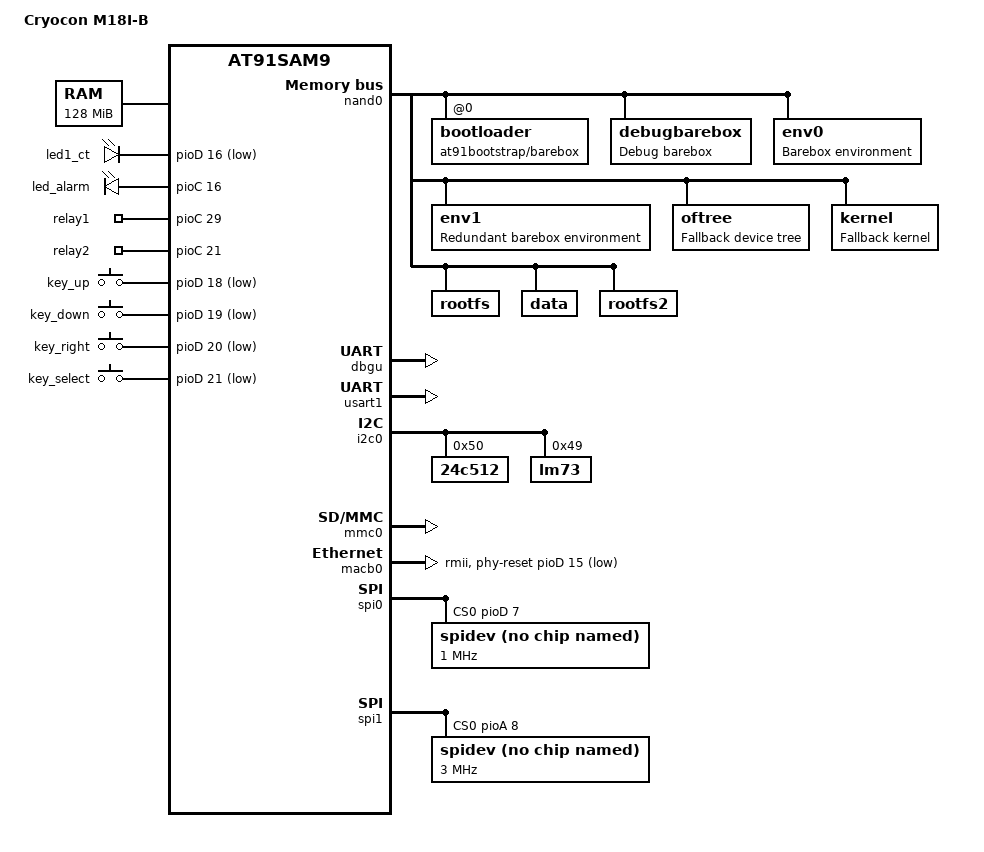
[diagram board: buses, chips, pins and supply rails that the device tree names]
/*
 * m18i-b.dtsi - Device Tree file for Cryocon M18I Revision B
 *
 *  Copyright (C) 2014 Cryogenic Control Systems, Inc.
 *                2012 Atmel,
 *                2012 Nicolas Ferre <nicolas.ferre@atmel.com>
 *
 * Licensed under GPLv2 or later.
 */
 
/dts-v1/;
/include/ "at91sam9g35.dtsi"

/ {

    model = "Cryocon M18I-B";
    compatible = "atmel,at91sam9x5ek", "atmel,at91sam9x5", "atmel,at91sam9";
    
	aliases {
		serial1 = &usart1;
	};

    memory {
        reg = <0x20000000 0x8000000>;
    };

    clocks {
        #address-cells = <1>;
        #size-cells = <1>;
        ranges;

        main_clock: clock@0 {
            compatible = "atmel,osc", "fixed-clock";
            clock-frequency = <12000000>;
        };
    };

	chosen {
		bootargs = "console=ttyS0,115200 ubi.mtd=rootfs ubi.mtd=data rootfstype=ubifs root=ubi:rootfs";
	};

    aliases {
        spi0 = &spi0;
        spi1 = &spi1;
    };

	ahb {
		nand0: nand@40000000 {
			nand-bus-width = <8>;
			nand-ecc-mode = "hw";
			atmel,has-pmecc;	/* Enable PMECC */
			atmel,pmecc-cap = <2>;
			atmel,pmecc-sector-size = <512>;
			nand-on-flash-bbt;
			status = "okay";

            pinctrl-names = "default";
            pinctrl-0 = <&pinctrl_nand0_m54>;

			bootloader@0 {
				label = "at91bootstrap/barebox";
				reg = <0x0 0x20000>;
			};

			debugbarebox@40000 {
				label = "Debug barebox";
				reg = <0x40000 0x40000>;
			};

			env0@80000 {
				label = "Barebox environment";
				reg = <0x80000 0x40000>;
			};
			
			env1@c0000 {
				label = "Redundant barebox environment";
				reg = <0xc0000 0x40000>;
			};			
			
			oftree@180000 {
				label = "Fallback device tree";
				reg = <0x180000 0x80000>;
			};

			kernel@200000 {
				label = "Fallback kernel";
				reg = <0x200000 0x600000>;
			};

			rootfs@800000 {
				label = "rootfs";
				reg = <0x0800000 0x6000000>;
			};
			
			data@6800000 {
				label = "data";
				reg = <0x6800000 0x3800000>;
			};
			
			rootfs2@a000000 {
				label = "rootfs2";
				reg = <0xa000000 0x6000000>;
			};
		};
			
		apb {
			
			mmc1: mmc@f000c000 {
				status = "disabled";
			};

			dbgu: serial@fffff200 {
				status = "okay";
			};

			usart1: serial@f8020000 {
				status = "okay";
			};

			i2c0: i2c@f8010000 {
				status = "okay";
				24c512@50 {
					compatible = "24c512";
					reg = <0x50>;
					pagesize = <128>;
				};		
				lm73@49 {
					compatible = "lm73";
					reg = <0x49>;
				};
			};

			pinctrl@fffff400 {

				nand0 {
					pinctrl_nand0_m54: nand0_m54-0 {
						atmel,pins =
							<3 14 0x0 0x1	/* PD14 CE# pull up */
							 3 18 0x0 0x1>;	/* PD18 WP# pull up */
					};
				};
			};

			mmc0: mmc@f0008000 {
				pinctrl-0 = <&pinctrl_mmc0_clk_cmd_dat0 &pinctrl_mmc0_dat1_3>;
				status = "okay";
				slot@0 {
					reg = <0>;
					bus-width = <4>;
				};
			};

            macb0: ethernet@f802c000 {
                phy-mode = "rmii";
                status = "okay";
				phy-reset-gpios = <&pioD 15 0>; /* PD15 GPIO phy reset */

                pinctrl-0 = <&pinctrl_macb0_rmii>;
            };

			spi0: spi@f0000000 {
				status = "okay";
				cs-gpios = <&pioD 7 0>, <&pioA 7 0>, <&pioA 1 0>, <&pioA 25 0>, <&pioC 14 0>, <&pioC 12 0>, <&pioC 11 0>;
                spidev@0 {
                    compatible = "spidev";
                    spi-max-frequency = <1000000>;
                    reg = <0>;
                };
			};

			spi1: spi@f0004000 {
			    status = "okay";
                cs-gpios = <&pioA 8 0>, <0>, <0>, <0>;
                spidev@0 {
                    compatible = "spidev";
                    spi-max-frequency = <3000000>;
                    reg = <0>;
                };
            };

		};

		usb0: ohci@00600000 {
			status = "disabled";
		};

		usb1: ehci@00700000 {
			status = "disabled";
		};
	};
	
	leds {
		compatible = "gpio-leds";

		heartbeat {
			label = "led1_ct";
			gpios = <&pioD 16 1>;
			linux,default-trigger = "heartbeat";
		};
		
		alarm {
			label = "led_alarm";
			gpios = <&pioC 16 0>;
			linux,default-trigger = "heartbeat";
		};
		
		relay1 {
					label = "relay1";
					gpios = <&pioC 29 0>, <&pioC 5 0>;
					linux,default-trigger = "default-on";
		};
		
		relay2 {
					label = "relay2";
					gpios = <&pioC 21 0>, <&pioC 4 0>;
					linux,default-trigger = "default-on";
		};		
	};
	
	gpio_keys {
		compatible = "gpio-keys";
		#address-cells = <1>;
		#size-cells = <0>;

		key_up {
			label = "key_up";
			gpios = <&pioD 18 1>;
			linux,code = <103>;
			gpio-key,wakeup;
		};
		
		key_down {
			label = "key_down";
			gpios = <&pioD 19 1>;
			linux,code = <108>;
			gpio-key,wakeup;
		};
		
		key_right {
			label = "key_right";
			gpios = <&pioD 20 1>;
			linux,code = <106>;
			gpio-key,wakeup;
		};
		
		key_select {
			label = "key_select";
			gpios = <&pioD 21 1>;
			linux,code = <0x161>;
			gpio-key,wakeup;
		};
	};

	
};
